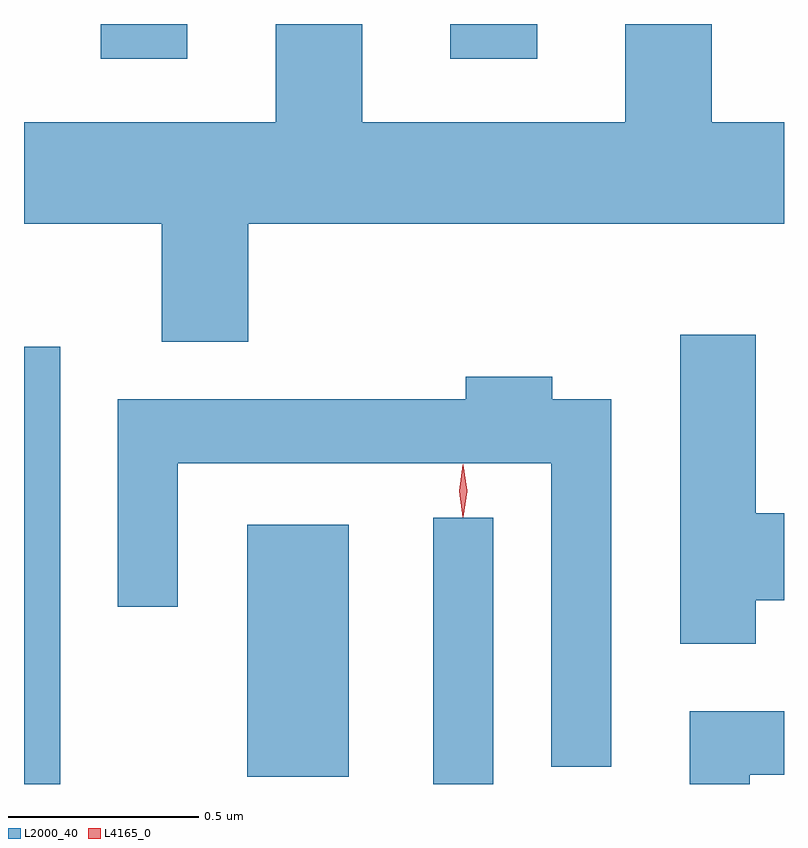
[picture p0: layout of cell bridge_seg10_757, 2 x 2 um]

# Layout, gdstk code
import gdstk
lib = gdstk.Library(unit=1e-6, precision=1e-09)
def R(c, l, rs):  # rectangles x0, y0, x1, y1
    for r in rs: c.add(gdstk.rectangle(r[:2], r[2:], *l))
def P(c, l, *ps):  # polygons
    for p in ps: c.add(gdstk.Polygon(p, *l))
L2000_40 = (2000, 40)
L4165_0 = (4165, 0)

bridge_seg10_757 = lib.new_cell('bridge_seg10_757')
R(bridge_seg10_757, L2000_40, [(900.289,2141.302,900.384,2142.453), (901.366,2141.302,901.524,2142.003), (900.876,2141.321,901.144,2141.984), (900.491,2143.211,900.719,2143.302), (901.411,2143.211,901.639,2143.302)])
P(bridge_seg10_757, L2000_40, [(900.879,2142.776),(902.289,2142.776),(902.289,2143.044),(902.099,2143.044),(902.099,2143.302),(901.871,2143.302),(901.871,2143.044),(901.179,2143.044),(901.179,2143.302),(900.951,2143.302),(900.951,2143.044),(900.289,2143.044),(900.289,2142.776),(900.651,2142.776),(900.651,2142.466),(900.879,2142.466)],
  [(902.214,2141.786),(902.289,2141.786),(902.289,2142.014),(902.214,2142.014),(902.214,2142.484),(902.016,2142.484),(902.016,2141.671),(902.214,2141.671)],
  [(901.834,2142.314),(901.679,2142.314),(901.679,2142.374),(901.451,2142.374),(901.451,2142.314),(900.536,2142.314),(900.536,2141.768),(900.694,2141.768),(900.694,2142.146),(901.676,2142.146),(901.676,2141.348),(901.834,2141.348)],
  [(902.199,2141.326),(902.289,2141.326),(902.289,2141.494),(902.041,2141.494),(902.041,2141.302),(902.199,2141.302)])
P(bridge_seg10_757, L4165_0, [(901.445,2142.007),(901.444,2142.008),(901.435,2142.074),(901.444,2142.14),(901.445,2142.14),(901.445,2142.14),(901.455,2142.074),(901.445,2142.008)],
  [(901.444,2142.004),(901.435,2142.073),(901.444,2142.142),(901.445,2142.143),(901.445,2142.142),(901.455,2142.073),(901.445,2142.004),(901.445,2142.004)])

lib.write_gds('bridge_seg10_757.gds')
